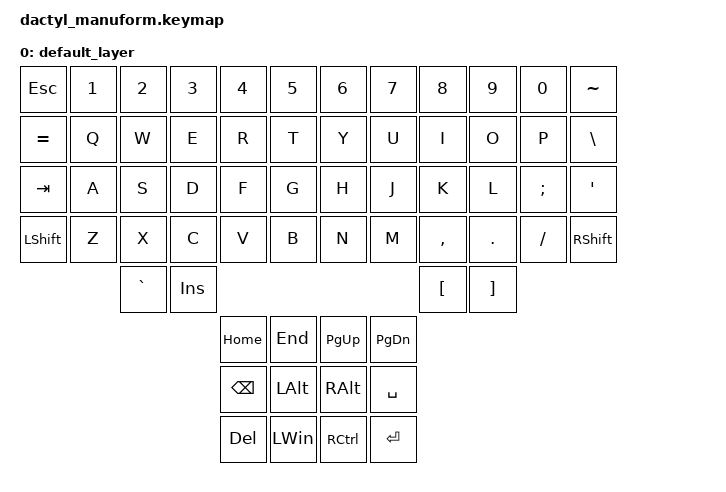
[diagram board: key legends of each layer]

#include <behaviors.dtsi>
#include <dt-bindings/zmk/keys.h>
#include <dt-bindings/zmk/bt.h>
#include <dt-bindings/zmk/outputs.h>
#include <dt-bindings/zmk/mouse.h>

#define DEFAULT 0

/ {
    keymap {
        compatible = "zmk,keymap";

        default_layer {
            bindings = <
                &kp ESC    &kp N1 &kp N2    &kp N3    &kp N4   &kp N5          &kp N6    &kp N7    &kp N8    &kp N9    &kp N0    &kp TILDE
                &kp EQUAL  &kp Q  &kp W     &kp E     &kp R    &kp T           &kp Y     &kp U     &kp I     &kp O     &kp P     &kp BACKSLASH
                &kp TAB    &kp A  &kp S     &kp D     &kp F    &kp G           &kp H     &kp J     &kp K     &kp L     &kp SEMI  &kp SINGLE_QUOTE
                &kp LSHIFT &kp Z  &kp X     &kp C     &kp V    &kp B           &kp N     &kp M     &kp COMMA &kp DOT   &kp SLASH &kp RSHIFT
                                  &kp GRAVE &kp INS                                                &kp LBKT  &kp RBKT
                                                      &kp HOME &kp END         &kp PG_UP &kp PG_DN
                                                      &kp BSPC &kp LALT        &kp RALT  &kp SPACE
                                                      &kp DEL  &kp LWIN        &kp RCTRL &kp ENTER
            >;
        };
    };
};

